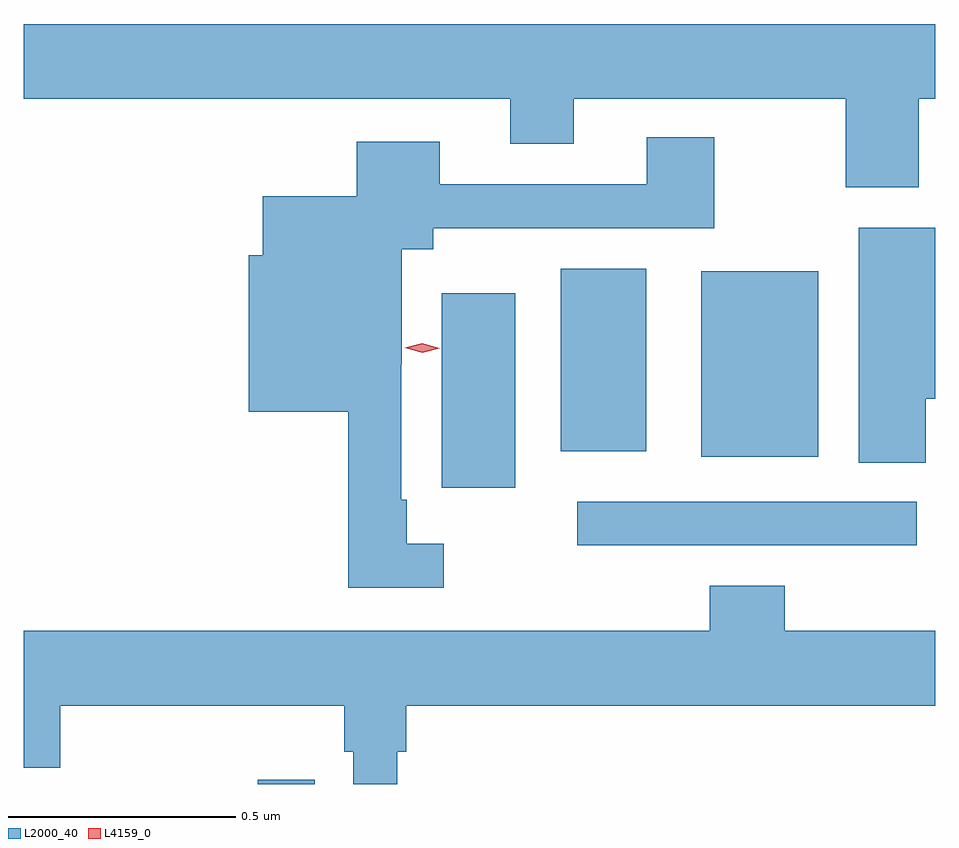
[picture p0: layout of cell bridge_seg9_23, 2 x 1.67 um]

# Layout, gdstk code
import gdstk
lib = gdstk.Library(unit=1e-6, precision=1e-09)
def R(c, l, rs):  # rectangles x0, y0, x1, y1
    for r in rs: c.add(gdstk.rectangle(r[:2], r[2:], *l))
def P(c, l, *ps):  # polygons
    for p in ps: c.add(gdstk.Polygon(p, *l))
L2000_40 = (2000, 40)
L4159_0 = (4159, 0)

bridge_seg9_23 = lib.new_cell('bridge_seg9_23')
R(bridge_seg9_23, L2000_40, [(957.903,1186.924,958.028,1186.933), (958.605,1187.448,959.35,1187.544), (958.307,1187.574,958.468,1188.001), (958.877,1187.642,959.134,1188.049), (958.568,1187.654,958.756,1188.055)])
P(bridge_seg9_23, L2000_40, [(959.354,1188.428),(959.39,1188.428),(959.39,1188.592),(957.39,1188.592),(957.39,1188.428),(958.457,1188.428),(958.457,1188.329),(958.597,1188.329),(958.597,1188.428),(959.194,1188.428),(959.194,1188.234),(959.354,1188.234)],
  [(958.312,1187.451),(958.23,1187.451),(958.23,1187.548),(958.218,1187.548),(958.218,1187.845),(958.219,1187.845),(958.219,1188.098),(958.288,1188.098),(958.288,1188.144),(958.905,1188.144),(958.905,1188.343),(958.757,1188.343),(958.757,1188.24),(958.303,1188.24),(958.303,1188.334),(958.121,1188.334),(958.121,1188.214),(957.914,1188.214),(957.914,1188.085),(957.884,1188.085),(957.884,1187.741),(958.102,1187.741),(958.102,1187.355),(958.312,1187.355)],
  [(959.369,1187.769),(959.39,1187.769),(959.39,1188.145),(959.222,1188.145),(959.222,1187.629),(959.369,1187.629)],
  [(958.209,1186.995),(958.229,1186.995),(958.229,1187.096),(959.39,1187.096),(959.39,1187.26),(959.06,1187.26),(959.06,1187.359),(958.895,1187.359),(958.895,1187.26),(957.39,1187.26),(957.39,1186.96),(957.47,1186.96),(957.47,1187.096),(958.093,1187.096),(958.093,1186.995),(958.113,1186.995),(958.113,1186.924),(958.209,1186.924)])
P(bridge_seg9_23, L4159_0, [(958.264,1187.871),(958.226,1187.881),(958.225,1187.881),(958.226,1187.881),(958.264,1187.891),(958.303,1187.88),(958.303,1187.88),(958.303,1187.88)])

lib.write_gds('bridge_seg9_23.gds')
